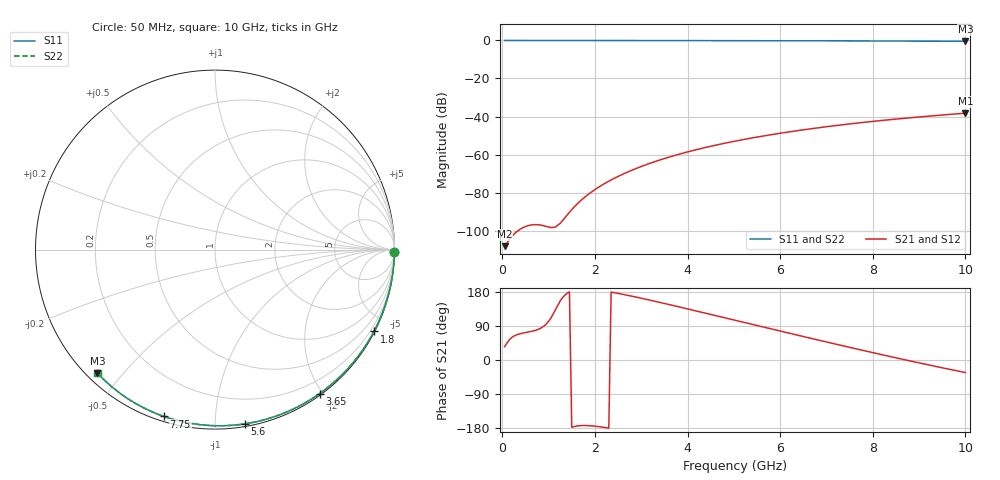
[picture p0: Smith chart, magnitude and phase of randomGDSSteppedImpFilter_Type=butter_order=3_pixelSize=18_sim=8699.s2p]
! freq	dB(S11)	phase(S11)	dB(S12)	phase(S12)
!  dB(S21)	phase(S21)	dB(S22)	phase(S22)
!S-par simulation data
#  GHz  S  DB  R 50
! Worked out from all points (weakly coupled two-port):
!   200 points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, 50 MHz to 10 GHz, reference 50 ohm
!   highest |S21| = -38.22 dB at 10 GHz (marker M1); lowest = -108.1 dB at 50 MHz (marker M2)
!   lowest |S11| = -0.4 dB at 10 GHz (marker M3), VSWR 38.73, Z = 1.53 - j21.4 ohm
!   |S11| at or under -10 dB: nowhere
!   |S22| runs from -0.4 to 0.0 dB; largest |S21 - S12| = 0
!   S11 on the Smith chart (normalised r, x): 50 MHz: open; 1.8 GHz: 0.04, -4.13; 3.65 GHz: 0.02, -1.96; 5.6 GHz: 0.02, -1.19; 7.75 GHz: 0.02, -0.74; 10 GHz: 0.03, -0.43
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0.05  -0.00 -0.8  -108.15 35.3  -108.15 35.3  -0.00 -0.8
0.45  -0.01 -6.9  -98.36 71.2  -98.36 71.2  -0.01 -6.9
0.9  -0.02 -13.8  -97.46 89.7  -97.46 89.7  -0.02 -13.7
1.75  -0.03 -26.5  -83.00 -172.9  -83.00 -172.9  -0.03 -26.5
1.8  -0.03 -27.3  -81.99 -172.9  -81.99 -172.9  -0.03 -27.2
1.9  -0.04 -28.7  -80.13 -173.5  -80.13 -173.5  -0.04 -28.7
2.25  -0.04 -33.9  -74.66 -178.8  -74.66 -178.8  -0.04 -33.9
2.45  -0.05 -36.8  -72.07 176.9  -72.07 176.9  -0.05 -36.8
2.65  -0.05 -39.7  -69.77 172.2  -69.77 172.2  -0.05 -39.7
3  -0.06 -44.8  -66.26 163.1  -66.26 163.1  -0.06 -44.7
3.4  -0.07 -50.5  -62.85 152.0  -62.85 152.0  -0.07 -50.4
3.65  -0.07 -54.0  -60.97 144.9  -60.97 144.9  -0.07 -54.0
4.3  -0.09 -63.0  -56.76 126.1  -56.76 126.1  -0.09 -62.9
5.05  -0.11 -73.1  -52.82 104.1  -52.82 104.1  -0.11 -73.0
5.6  -0.13 -80.3  -50.37 88.0  -50.37 88.0  -0.13 -80.2
6.15  -0.15 -87.3  -48.22 72.0  -48.22 72.0  -0.15 -87.2
6.7  -0.18 -94.2  -46.31 56.1  -46.31 56.1  -0.18 -94.1
7.2  -0.21 -100.3  -44.75 41.8  -44.75 41.8  -0.21 -100.3
7.75  -0.25 -107.0  -43.20 26.4  -43.20 26.4  -0.24 -106.9
8.35  -0.29 -114.2  -41.69 9.8  -41.69 9.8  -0.29 -114.1
9.15  -0.36 -123.6  -39.91 -11.5  -39.91 -11.5  -0.36 -123.5
10  -0.45 -133.6  -38.22 -33.1  -38.22 -33.1  -0.45 -133.5
